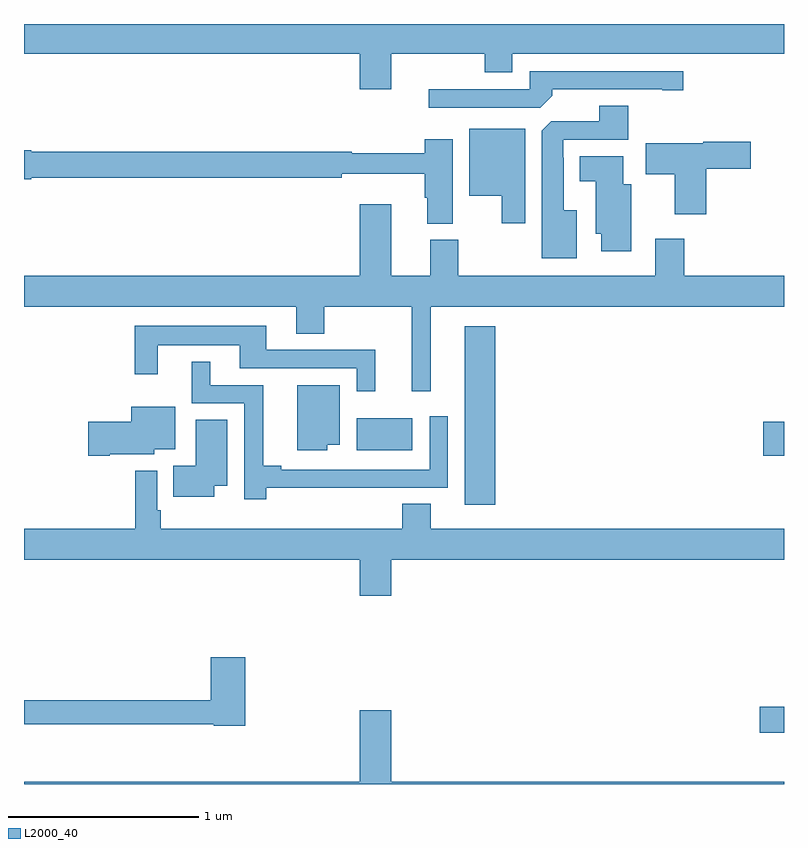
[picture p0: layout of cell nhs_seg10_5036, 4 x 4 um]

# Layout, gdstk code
import gdstk
lib = gdstk.Library(unit=1e-6, precision=1e-09)
def R(c, l, rs):  # rectangles x0, y0, x1, y1
    for r in rs: c.add(gdstk.rectangle(r[:2], r[2:], *l))
def P(c, l, *ps):  # polygons
    for p in ps: c.add(gdstk.Polygon(p, *l))
L2000_40 = (2000, 40)

nhs_seg10_5036 = lib.new_cell('nhs_seg10_5036')
R(nhs_seg10_5036, L2000_40, [(406.872,1268.771,407,1268.906), (405.32,1269.969,405.479,1270.909), (406.89,1270.228,407,1270.406), (404.75,1270.256,405.043,1270.426)])
P(nhs_seg10_5036, L2000_40, [(404.932,1272.344),(405.424,1272.344),(405.424,1272.245),(405.571,1272.245),(405.571,1272.344),(407,1272.344),(407,1272.5),(403,1272.5),(403,1272.344),(404.768,1272.344),(404.768,1272.156),(404.932,1272.156)],
  [(405.779,1272.122),(405.779,1272.156),(406.358,1272.156),(406.358,1272.151),(406.471,1272.151),(406.471,1272.252),(405.663,1272.252),(405.663,1272.156),(405.129,1272.156),(405.129,1272.06),(405.717,1272.06)],
  [(405.91,1271.521),(405.841,1271.521),(405.841,1271.795),(405.837,1271.795),(405.837,1271.892),(406.181,1271.892),(406.181,1272.071),(406.028,1272.071),(406.028,1271.988),(405.774,1271.988),(405.725,1271.939),(405.725,1271.267),(405.91,1271.267)],
  [(405.637,1271.95),(405.344,1271.95),(405.344,1271.597),(405.515,1271.597),(405.515,1271.451),(405.637,1271.451)],
  [(405.256,1271.893),(405.11,1271.893),(405.11,1271.821),(404.726,1271.821),(404.726,1271.828),(403.038,1271.828),(403.038,1271.836),(403,1271.836),(403,1271.684),(403.038,1271.684),(403.038,1271.692),(404.672,1271.692),(404.672,1271.711),(405.11,1271.711),(405.11,1271.585),(405.122,1271.585),(405.122,1271.449),(405.256,1271.449)],
  [(406.592,1271.738),(406.825,1271.738),(406.825,1271.88),(406.575,1271.88),(406.575,1271.872),(406.272,1271.872),(406.272,1271.71),(406.424,1271.71),(406.424,1271.499),(406.592,1271.499)],
  [(406.195,1271.656),(406.153,1271.656),(406.153,1271.803),(405.926,1271.803),(405.926,1271.672),(406.01,1271.672),(406.01,1271.397),(406.037,1271.397),(406.037,1271.304),(406.195,1271.304)],
  [(405.14,1271.012),(407,1271.012),(407,1271.176),(406.475,1271.176),(406.475,1271.371),(406.322,1271.371),(406.322,1271.176),(405.285,1271.176),(405.285,1271.364),(405.137,1271.364),(405.137,1271.176),(404.932,1271.176),(404.932,1271.551),(404.768,1271.551),(404.768,1271.176),(403,1271.176),(403,1271.012),(404.432,1271.012),(404.432,1270.87),(404.58,1270.87),(404.58,1271.012),(405.041,1271.012),(405.041,1270.566),(405.14,1270.566)],
  [(404.849,1270.785),(404.275,1270.785),(404.275,1270.912),(403.584,1270.912),(403.584,1270.656),(403.705,1270.656),(403.705,1270.808),(404.135,1270.808),(404.135,1270.689),(404.751,1270.689),(404.751,1270.566),(404.849,1270.566)],
  [(404.276,1270.058),(404.906,1270.058),(404.906,1270.059),(405.231,1270.059),(405.231,1270.435),(405.135,1270.435),(405.135,1270.155),(404.353,1270.155),(404.353,1270.175),(404.258,1270.175),(404.258,1270.599),(403.981,1270.599),(403.981,1270.723),(403.883,1270.723),(403.883,1270.503),(404.16,1270.503),(404.16,1269.999),(404.276,1269.999)],
  [(404.596,1270.286),(404.662,1270.286),(404.662,1270.6),(404.438,1270.6),(404.438,1270.256),(404.596,1270.256)],
  [(403.45,1270.235),(403.686,1270.235),(403.686,1270.262),(403.795,1270.262),(403.795,1270.486),(403.565,1270.486),(403.565,1270.406),(403.338,1270.406),(403.338,1270.228),(403.45,1270.228)],
  [(404.002,1270.07),(404.071,1270.07),(404.071,1270.418),(403.904,1270.418),(403.904,1270.174),(403.786,1270.174),(403.786,1270.013),(404.002,1270.013)],
  [(404.932,1269.68),(407,1269.68),(407,1269.844),(405.142,1269.844),(405.142,1269.974),(404.99,1269.974),(404.99,1269.844),(403.721,1269.844),(403.721,1269.94),(403.701,1269.94),(403.701,1270.15),(403.585,1270.15),(403.585,1269.844),(403,1269.844),(403,1269.68),(404.768,1269.68),(404.768,1269.492),(404.932,1269.492)],
  [(404.165,1269.166),(403.982,1269.166),(403.982,1268.942),(403,1268.942),(403,1268.814),(403.998,1268.814),(403.998,1268.806),(404.165,1268.806)],
  [(407,1268.512),(404.932,1268.512),(404.932,1268.887),(404.768,1268.887),(404.768,1268.512),(403,1268.512),(403,1268.5),(407,1268.5)])

lib.write_gds('nhs_seg10_5036.gds')
